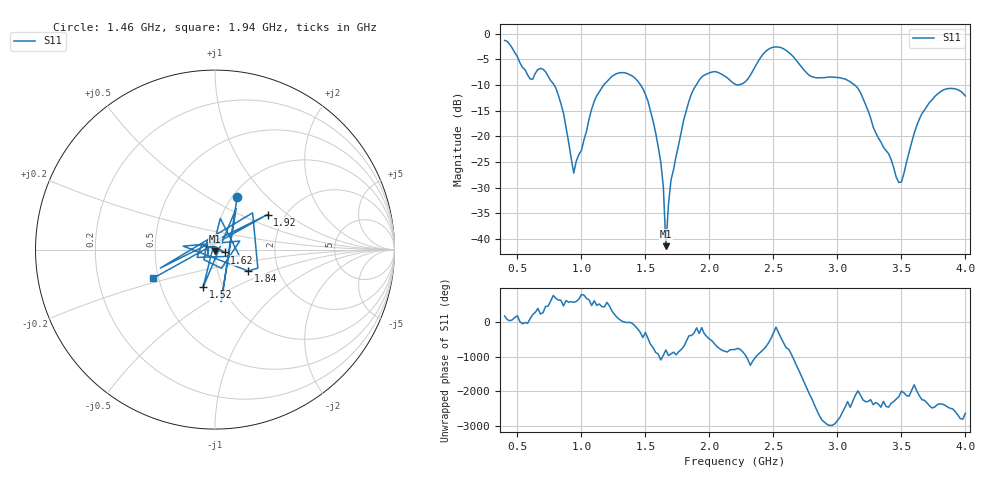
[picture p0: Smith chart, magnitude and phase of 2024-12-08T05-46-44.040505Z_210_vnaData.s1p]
!Created with skrf (http://scikit-rf.org).
# Hz S RI R 50.0
!freq ReS11 ImS11
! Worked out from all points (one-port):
!   181 points, 400 MHz to 4 GHz, reference 50 ohm
!   lowest |S11| = -41.4 dB at 1.66 GHz (marker M1), VSWR 1.02, Z = 50.1 - j0.847 ohm
!   |S11| at or under -10 dB: 786.4 MHz to 1.174 GHz (387.7 MHz wide, 39.5 % of centre); 1.462 GHz to 1.897 GHz (434 MHz wide, 25.8 % of centre); 3.135 GHz to end of sweep (the widest 3 of 4)
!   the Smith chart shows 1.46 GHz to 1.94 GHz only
!   S11 on the Smith chart (normalised r, x): 1.46 GHz: 1.05, +0.69; 1.52 GHz: 0.81, -0.36; 1.62 GHz: 1.11, -0.04; 1.84 GHz: 1.40, -0.35; 1.92 GHz: 1.63, +0.73; 1.94 GHz: 0.47, -0.17
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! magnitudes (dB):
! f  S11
! 400 MHz  -1.3
! 600 MHz  -8.8
! 720 MHz  -7.4
! 860 MHz  -15.5
! 940 MHz  -27.1
! 1.12 GHz  -12.1
! 1.3 GHz  -7.6
! 1.46 GHz  -9.9
! 1.52 GHz  -13.2
! 1.62 GHz  -25.0
! 1.64 GHz  -29.8
! 1.66 GHz  -41.4
! 1.7 GHz  -28.5
! 1.76 GHz  -21.6
! 1.84 GHz  -13.2
! 1.92 GHz  -9.1
! 1.94 GHz  -8.4
! 2.2 GHz  -9.8
! 2.48 GHz  -2.8
! 2.66 GHz  -4.6
! 2.8 GHz  -8.4
! 3.1 GHz  -9.4
! 3.18 GHz  -11.5
! 3.48 GHz  -29.0
! 3.56 GHz  -23.1
! 3.64 GHz  -16.7
! 3.76 GHz  -12.2
! 4 GHz  -12.1
